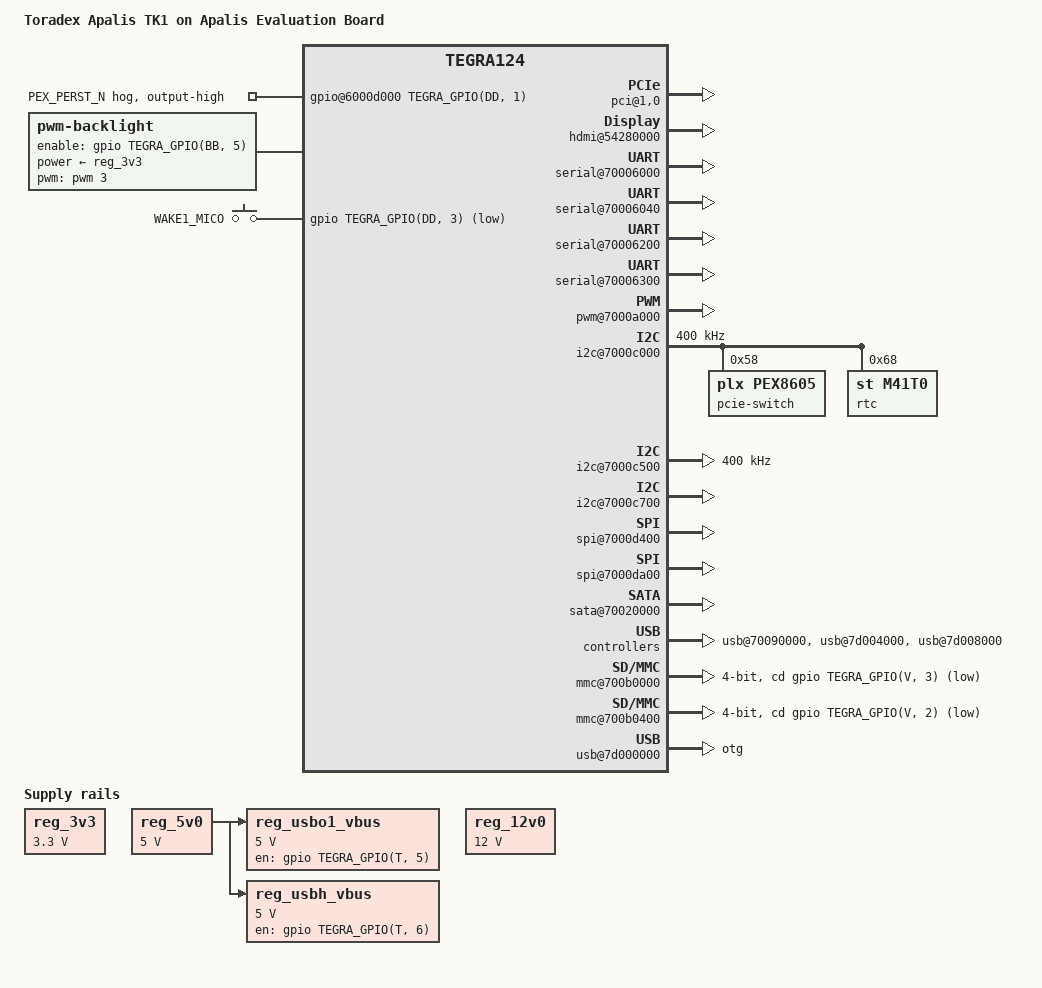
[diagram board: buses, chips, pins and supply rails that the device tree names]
// SPDX-License-Identifier: GPL-2.0 OR MIT
/*
 * Copyright 2016-2018 Toradex AG
 */

/dts-v1/;

#include <dt-bindings/input/input.h>
#include "tegra124-apalis-v1.2.dtsi"

/ {
	model = "Toradex Apalis TK1 on Apalis Evaluation Board";
	compatible = "toradex,apalis-tk1-v1.2-eval", "toradex,apalis-tk1-eval",
		     "toradex,apalis-tk1-v1.2", "toradex,apalis-tk1",
		     "nvidia,tegra124";

	aliases {
		rtc0 = "/i2c@7000c000/rtc@68";
		rtc1 = "/i2c@7000d000/pmic@40";
		rtc2 = "/rtc@7000e000";
		serial0 = &uarta;
		serial1 = &uartb;
		serial2 = &uartc;
		serial3 = &uartd;
	};

	chosen {
		stdout-path = "serial0:115200n8";
	};

	pcie@1003000 {
		pci@1,0 {
			status = "okay";
		};
	};

	host1x@50000000 {
		hdmi@54280000 {
			status = "okay";
			hdmi-supply = <&reg_5v0>;
		};
	};

	gpio@6000d000 {
		/* Apalis GPIO7 MXM3 pin 15 PLX PEX 8605 PCIe Switch Reset */
		pex-perst-n-hog {
			gpio-hog;
			gpios = <TEGRA_GPIO(DD, 1) GPIO_ACTIVE_HIGH>;
			output-high;
			line-name = "PEX_PERST_N";
		};
	};

	/* Apalis UART1 */
	serial@70006000 {
		/delete-property/ dmas;
		/delete-property/ dma-names;
		status = "okay";
	};

	/* Apalis UART2 */
	serial@70006040 {
		status = "okay";
	};

	/* Apalis UART3 */
	serial@70006200 {
		status = "okay";
	};

	/* Apalis UART4 */
	serial@70006300 {
		status = "okay";
	};

	pwm@7000a000 {
		status = "okay";
	};

	/*
	 * GEN1_I2C: I2C1_SDA/SCL on MXM3 pin 209/211 (e.g. RTC on carrier
	 * board)
	 */
	i2c@7000c000 {
		status = "okay";
		clock-frequency = <400000>;

		pcie-switch@58 {
			compatible = "plx,pex8605";
			reg = <0x58>;
		};

		/* M41T0M6 real time clock on carrier board */
		rtc@68 {
			compatible = "st,m41t0";
			reg = <0x68>;
		};
	};

	/* GEN2_I2C: unused */

	/*
	 * CAM_I2C: I2C3_SDA/SCL (CAM) on MXM3 pin 201/203 (e.g. camera sensor
	 * on carrier board)
	 */
	i2c@7000c500 {
		status = "okay";
		clock-frequency = <400000>;
	};

	/*
	 * I2C4 (DDC): I2C4_SDA/SCL (DDC) on MXM3 pin 205/207
	 * (e.g. display EDID)
	 */
	i2c@7000c700 {
		status = "okay";
	};

	/* SPI1: Apalis SPI1 */
	spi@7000d400 {
		status = "okay";
		spi-max-frequency = <50000000>;
	};

	/* SPI4: Apalis SPI2 */
	spi@7000da00 {
		status = "okay";
		spi-max-frequency = <50000000>;
	};

	/* Apalis Serial ATA */
	sata@70020000 {
		status = "okay";
		target-5v-supply = <&reg_5v0>;
		target-12v-supply = <&reg_12v0>;
	};

	hda@70030000 {
		status = "okay";
	};

	usb@70090000 {
		status = "okay";
	};

	/* Apalis MMC1 */
	mmc@700b0000 {
		status = "okay";
		bus-width = <4>;
		/* MMC1_CD# */
		cd-gpios = <&gpio TEGRA_GPIO(V, 3) GPIO_ACTIVE_LOW>;
		vqmmc-supply = <&vddio_sdmmc1>;
	};

	/* Apalis SD1 */
	mmc@700b0400 {
		status = "okay";
		bus-width = <4>;
		/* SD1_CD# */
		cd-gpios = <&gpio TEGRA_GPIO(V, 2) GPIO_ACTIVE_LOW>;
		vqmmc-supply = <&vddio_sdmmc3>;
	};

	/* EHCI instance 0: USB1_DP/N -> USBO1_DP/N */
	usb@7d000000 {
		status = "okay";
		dr_mode = "otg";
	};

	usb-phy@7d000000 {
		status = "okay";
		vbus-supply = <&reg_usbo1_vbus>;
	};

	/* EHCI instance 1: USB2_DP/N -> USBH2_DP/N */
	usb@7d004000 {
		status = "okay";
	};

	usb-phy@7d004000 {
		status = "okay";
		vbus-supply = <&reg_usbh_vbus>;
	};

	/* EHCI instance 2: USB3_DP/N -> USBH4_DP/N */
	usb@7d008000 {
		status = "okay";
	};

	usb-phy@7d008000 {
		status = "okay";
		vbus-supply = <&reg_usbh_vbus>;
	};

	backlight: backlight {
		compatible = "pwm-backlight";
		brightness-levels = <255 231 223 207 191 159 127 0>;
		default-brightness-level = <6>;
		/* BKL1_ON */
		enable-gpios = <&gpio TEGRA_GPIO(BB, 5) GPIO_ACTIVE_HIGH>;
		power-supply = <&reg_3v3>;
		pwms = <&pwm 3 5000000>; /* BKL1_PWM */
	};

	gpio-keys {
		compatible = "gpio-keys";

		key-wakeup {
			label = "WAKE1_MICO";
			gpios = <&gpio TEGRA_GPIO(DD, 3) GPIO_ACTIVE_LOW>;
			linux,code = <KEY_WAKEUP>;
			debounce-interval = <10>;
			wakeup-source;
		};
	};

	reg_3v3: regulator-3v3 {
		compatible = "regulator-fixed";
		regulator-name = "3.3V_SW";
		regulator-min-microvolt = <3300000>;
		regulator-max-microvolt = <3300000>;
	};

	reg_5v0: regulator-5v0 {
		compatible = "regulator-fixed";
		regulator-name = "5V_SW";
		regulator-min-microvolt = <5000000>;
		regulator-max-microvolt = <5000000>;
	};

	reg_12v0: regulator-12v0 {
		compatible = "regulator-fixed";
		regulator-name = "12V_SW";
		regulator-min-microvolt = <12000000>;
		regulator-max-microvolt = <12000000>;
	};

	/* USBO1_EN */
	reg_usbo1_vbus: regulator-usbo1-vbus {
		compatible = "regulator-fixed";
		regulator-name = "VCC_USBO1";
		regulator-min-microvolt = <5000000>;
		regulator-max-microvolt = <5000000>;
		gpio = <&gpio TEGRA_GPIO(T, 5) GPIO_ACTIVE_HIGH>;
		enable-active-high;
		vin-supply = <&reg_5v0>;
	};

	/* USBH_EN */
	reg_usbh_vbus: regulator-usbh-vbus {
		compatible = "regulator-fixed";
		regulator-name = "VCC_USBH(2A|2C|2D|3|4)";
		regulator-min-microvolt = <5000000>;
		regulator-max-microvolt = <5000000>;
		gpio = <&gpio TEGRA_GPIO(T, 6) GPIO_ACTIVE_HIGH>;
		enable-active-high;
		vin-supply = <&reg_5v0>;
	};
};
